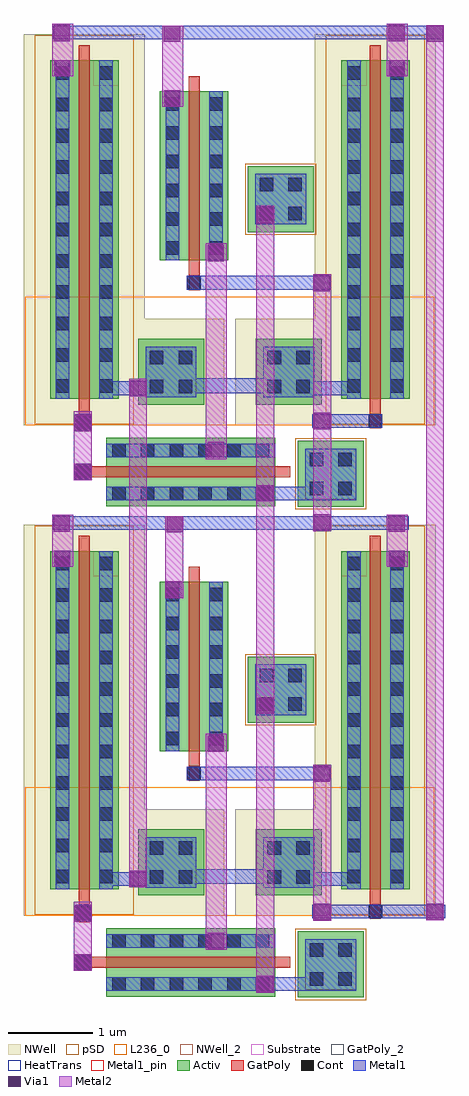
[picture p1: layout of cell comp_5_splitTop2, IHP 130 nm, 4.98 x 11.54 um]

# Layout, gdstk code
from math import pi, radians
import gdstk
lib = gdstk.Library(unit=1e-6, precision=1e-09)
def R(c, l, rs):  # rectangles x0, y0, x1, y1
    for r in rs: c.add(gdstk.rectangle(r[:2], r[2:], *l))
def A(c, l, x, y, w, h, nx, ny, dx, dy):  # array of equal rectangles
    R(c, l, [(x+i*dx, y+j*dy, x+i*dx+w, y+j*dy+h) for i in range(nx) for j in range(ny)])
def P(c, l, *ps):  # polygons
    for p in ps: c.add(gdstk.Polygon(p, *l))
Activ = (1, 0)
GatPoly = (5, 0)
GatPoly_2 = (5, 2)
Cont = (6, 0)
Metal1 = (8, 0)
Metal1_pin = (8, 2)
Metal2 = (10, 0)
pSD = (14, 0)
Via1 = (19, 0)
NWell = (31, 0)
NWell_2 = (31, 2)
Substrate = (40, 0)
HeatTrans = (51, 0)
L236_0 = (236, 0)

ptap = lib.new_cell('ptap')
R(ptap, Activ, [(0,0,0.78,0.78)])
R(ptap, Cont, [(0.14,0.14,0.3,0.3), (0.48,0.14,0.64,0.3), (0.14,0.48,0.3,0.64), (0.48,0.48,0.64,0.64)])
R(ptap, Metal1, [(0.09,0.09,0.69,0.69)])
R(ptap, Metal1_pin, [(0.09,0.09,0.69,0.69)])
R(ptap, pSD, [(-0.03,-0.03,0.81,0.81)])

comp_5_split2 = lib.new_cell('comp_5_split2')
R(comp_5_split2, Activ, [(-0.924,-4.817,-0.144,-4.037), (-3.191,-4.808,-2.891,-4.508), (-3.191,-4.808,-1.191,-3.998), (-3.191,-4.298,-2.891,-3.998), (-2.813,-3.611,-2.033,-2.831), (-1.423,-3.611,-0.643,-2.831), (-3.854,-3.539,-3.044,0.461), (-0.412,-3.539,0.398,0.461), (-2.554,-1.904,-1.744,0.096), (-2.554,-0.204,-2.254,0.096), (-2.044,-0.204,-1.744,0.096), (-3.854,0.161,-3.554,0.461), (-3.344,0.161,-3.044,0.461), (-0.412,0.161,-0.112,0.461), (0.098,0.161,0.398,0.461)])
R(comp_5_split2, GatPoly, [(-3.549,-4.468,-1.011,-4.338), (-3.514,-3.925,-3.384,0.641), (-0.072,-3.887,0.058,0.641), (-3.514,-3.719,-3.384,0.641), (-3.514,-3.719,-3.384,0.641), (-0.072,-3.719,0.058,0.641), (-0.072,-3.719,0.058,0.641), (-2.214,-2.255,-2.084,0.276)])
R(comp_5_split2, GatPoly_2, [(-3.371,-4.468,-1.011,-4.338), (-3.371,-4.468,-1.011,-4.338), (-2.214,-2.084,-2.084,0.276), (-2.214,-2.084,-2.084,0.276)])
A(comp_5_split2, Cont, -3.121, -4.738, 0.16, 0.16, 6, 2, 0.34, 0.51)
A(comp_5_split2, Cont, -3.784, -3.469, 0.16, 0.16, 1, 11, 0, 0.37)
A(comp_5_split2, Cont, -3.274, -3.469, 0.16, 0.16, 1, 11, 0, 0.37)
A(comp_5_split2, Cont, -0.342, -3.469, 0.16, 0.16, 1, 11, 0, 0.37)
A(comp_5_split2, Cont, 0.168, -3.469, 0.16, 0.16, 1, 11, 0, 0.37)
A(comp_5_split2, Cont, -2.484, -1.834, 0.16, 0.16, 1, 6, 0, 0.34)
A(comp_5_split2, Cont, -1.974, -1.834, 0.16, 0.16, 1, 6, 0, 0.34)
R(comp_5_split2, Cont, [(-0.784,-4.677,-0.624,-4.517), (-0.444,-4.677,-0.284,-4.517), (-3.539,-4.483,-3.379,-4.323), (-0.784,-4.337,-0.624,-4.177), (-0.444,-4.337,-0.284,-4.177), (-3.539,-3.906,-3.379,-3.746), (-0.088,-3.882,0.072,-3.722), (-2.673,-3.471,-2.513,-3.311), (-2.333,-3.471,-2.173,-3.311), (-1.283,-3.471,-1.123,-3.311), (-0.943,-3.471,-0.783,-3.311), (-2.673,-3.131,-2.513,-2.971), (-2.333,-3.131,-2.173,-2.971), (-1.283,-3.131,-1.123,-2.971), (-0.943,-3.131,-0.783,-2.971), (-2.23,-2.247,-2.07,-2.087)])
R(comp_5_split2, Metal1, [(-3.191,-4.738,-0.742,-4.578), (-0.834,-4.738,-0.234,-4.127), (-3.559,-4.487,-3.373,-4.32), (-3.191,-4.228,-1.191,-4.068), (-3.558,-3.922,-3.368,-3.72), (-0.752,-3.882,0.072,-3.722), (-3.784,-3.539,-3.624,0.461), (-3.784,-3.539,-3.624,0.461), (-3.784,-3.539,-3.624,0.461), (0.168,-3.539,0.328,0.461), (0.168,-3.539,0.328,0.461), (0.168,-3.539,0.328,0.461), (-2.238,-2.247,-0.541,-2.087), (-2.484,-1.904,-2.324,0.096), (-1.974,-1.904,-1.814,0.096), (-3.823,0.71,0.797,0.87)])
P(comp_5_split2, Metal1, [(-3.274,-3.539),(-3.274,0.461),(-3.114,0.461),(-3.114,-3.334),(-2.723,-3.334),(-2.723,-2.921),(-2.123,-2.921),(-2.123,-3.299),(-1.333,-3.299),(-1.333,-2.921),(-0.733,-2.921),(-0.733,-3.334),(-0.342,-3.334),(-0.342,0.461),(-0.182,0.461),(-0.182,-3.539),(-0.342,-3.539),(-0.342,-3.499),(-0.733,-3.499),(-0.733,-3.521),(-1.333,-3.521),(-1.333,-3.471),(-2.123,-3.471),(-2.123,-3.521),(-2.723,-3.521),(-2.723,-3.499),(-3.114,-3.499),(-3.114,-3.539)])
R(comp_5_split2, Metal1_pin, [(-3.191,-4.738,-1.191,-4.578), (-3.191,-4.738,-1.191,-4.578), (-0.834,-4.727,-0.234,-4.127), (-3.191,-4.228,-1.191,-4.068), (-3.191,-4.228,-1.191,-4.068), (-2.723,-3.521,-2.123,-2.921), (-1.333,-3.521,-0.733,-2.921), (-2.484,-1.904,-2.324,0.096), (-2.484,-1.904,-2.324,0.096), (-1.974,-1.904,-1.814,0.096), (-1.974,-1.904,-1.814,0.096)])
R(comp_5_split2, Metal2, [(-1.415,-7.096,-1.205,-1.255), (-0.741,-5.104,-0.531,-2.068), (-3.571,-4.504,-3.361,-3.687), (-2.013,-4.252,-1.765,-1.701), (-2.528,-0.086,-2.28,0.874), (-3.83,0.273,-3.582,0.892), (0.126,0.273,0.374,0.892)])
R(comp_5_split2, pSD, [(-0.954,-4.847,-0.114,-4.007), (-4.034,-3.839,-2.864,0.761), (-0.592,-3.839,0.578,0.761)])
R(comp_5_split2, Via1, [(-1.406,-4.749,-1.216,-4.559), (-3.562,-4.499,-3.372,-4.309), (-3.562,-4.499,-3.372,-4.309), (-1.987,-4.239,-1.797,-4.049), (-3.559,-3.92,-3.369,-3.73), (-0.732,-3.897,-0.542,-3.707), (-0.735,-2.267,-0.545,-2.077), (-1.992,-1.91,-1.802,-1.72), (-1.403,-1.464,-1.213,-1.274), (-2.502,-0.083,-2.312,0.107), (-3.804,0.276,-3.614,0.466), (0.152,0.276,0.342,0.466), (-2.507,0.682,-2.317,0.872), (-3.809,0.691,-3.619,0.881), (0.147,0.691,0.337,0.881)])
R(comp_5_split2, NWell, [(-3.053,-3.851,-1.793,-2.591), (-1.663,-3.851,-0.403,-2.591), (-4.164,-3.849,-2.734,0.771), (-0.722,-3.849,0.708,0.771)])
R(comp_5_split2, NWell_2, [(-1.423,-3.611,-0.643,-2.831)])
R(comp_5_split2, Substrate, [(-3.344,0.161,-3.044,0.461), (-3.344,0.161,-3.044,0.461), (-0.412,0.161,-0.112,0.461), (-0.412,0.161,-0.112,0.461)])
R(comp_5_split2, HeatTrans, [(-3.371,-4.468,-1.011,-4.338), (-3.514,-3.719,-3.384,0.641), (-0.072,-3.719,0.058,0.641), (-2.214,-2.084,-2.084,0.276)])
R(comp_5_split2, L236_0, [(-4.147,-3.851,-1.479,-2.331), (-1.977,-3.851,0.691,-2.331)])
comp_5_split2.add(gdstk.Reference(ptap, (-0.735,-0.788), rotation=pi))
comp_5_split2.add(gdstk.Label('pmos', (-0.007,-1.539), layer=63, texttype=0))
comp_5_split2.add(gdstk.Label('well', (-0.643,-2.831), layer=63, texttype=0))
comp_5_split2.add(gdstk.Label('pmos', (-3.449,-1.539), layer=63, texttype=0))
comp_5_split2.add(gdstk.Label('well', (-2.813,-2.831), layer=63, texttype=0))
comp_5_split2.add(gdstk.Label('pmos', (-0.007,-1.539), layer=51, texttype=0))
comp_5_split2.add(gdstk.Label('pmos', (-3.449,-1.539), layer=51, texttype=0))
comp_5_split2.add(gdstk.Label('nmos', (-2.149,-0.904), layer=51, texttype=0))
comp_5_split2.add(gdstk.Label('nmos', (-2.191,-4.403), layer=51, texttype=0))
comp_5_split2.add(gdstk.Label('[@instanceName]', (-0.643,-3.091), layer=236, texttype=1))
comp_5_split2.add(gdstk.Label('[@instanceName]', (-2.813,-3.091), layer=236, texttype=1))
comp_5_split2.add(gdstk.Label('out1m', (-3.468,-4.143), layer=8, texttype=25))
comp_5_split2.add(gdstk.Label('d_inv', (-0.057,-4.999), layer=8, texttype=25))

comp_5_split2_2 = lib.new_cell('comp_5_split2$2')
R(comp_5_split2_2, Activ, [(-0.924,-4.817,-0.144,-4.037), (-3.191,-4.808,-2.891,-4.508), (-3.191,-4.808,-1.191,-3.998), (-3.191,-4.298,-2.891,-3.998), (-2.813,-3.611,-2.033,-2.831), (-1.423,-3.611,-0.643,-2.831), (-3.854,-3.539,-3.044,0.461), (-0.412,-3.539,0.398,0.461), (-2.554,-1.904,-1.744,0.096), (-2.554,-0.204,-2.254,0.096), (-2.044,-0.204,-1.744,0.096), (-3.854,0.161,-3.554,0.461), (-3.344,0.161,-3.044,0.461), (-0.412,0.161,-0.112,0.461), (0.098,0.161,0.398,0.461)])
R(comp_5_split2_2, GatPoly, [(-3.549,-4.468,-1.011,-4.338), (-3.514,-3.925,-3.384,0.641), (-0.072,-3.887,0.058,0.641), (-3.514,-3.719,-3.384,0.641), (-3.514,-3.719,-3.384,0.641), (-0.072,-3.719,0.058,0.641), (-0.072,-3.719,0.058,0.641), (-2.214,-2.255,-2.084,0.276)])
R(comp_5_split2_2, GatPoly_2, [(-3.371,-4.468,-1.011,-4.338), (-3.371,-4.468,-1.011,-4.338), (-2.214,-2.084,-2.084,0.276), (-2.214,-2.084,-2.084,0.276)])
A(comp_5_split2_2, Cont, -3.121, -4.738, 0.16, 0.16, 6, 2, 0.34, 0.51)
A(comp_5_split2_2, Cont, -3.784, -3.469, 0.16, 0.16, 1, 11, 0, 0.37)
A(comp_5_split2_2, Cont, -3.274, -3.469, 0.16, 0.16, 1, 11, 0, 0.37)
A(comp_5_split2_2, Cont, -0.342, -3.469, 0.16, 0.16, 1, 11, 0, 0.37)
A(comp_5_split2_2, Cont, 0.168, -3.469, 0.16, 0.16, 1, 11, 0, 0.37)
A(comp_5_split2_2, Cont, -2.484, -1.834, 0.16, 0.16, 1, 6, 0, 0.34)
A(comp_5_split2_2, Cont, -1.974, -1.834, 0.16, 0.16, 1, 6, 0, 0.34)
R(comp_5_split2_2, Cont, [(-0.784,-4.677,-0.624,-4.517), (-0.444,-4.677,-0.284,-4.517), (-3.539,-4.483,-3.379,-4.323), (-0.784,-4.337,-0.624,-4.177), (-0.444,-4.337,-0.284,-4.177), (-3.539,-3.906,-3.379,-3.746), (-0.088,-3.882,0.072,-3.722), (-2.673,-3.471,-2.513,-3.311), (-2.333,-3.471,-2.173,-3.311), (-1.283,-3.471,-1.123,-3.311), (-0.943,-3.471,-0.783,-3.311), (-2.673,-3.131,-2.513,-2.971), (-2.333,-3.131,-2.173,-2.971), (-1.283,-3.131,-1.123,-2.971), (-0.943,-3.131,-0.783,-2.971), (-2.23,-2.247,-2.07,-2.087)])
R(comp_5_split2_2, Metal1, [(-3.191,-4.738,-0.742,-4.578), (-0.834,-4.738,-0.234,-4.127), (-3.559,-4.487,-3.373,-4.32), (-3.191,-4.228,-1.191,-4.068), (-3.558,-3.922,-3.368,-3.72), (-0.752,-3.882,0.818,-3.722), (-3.784,-3.539,-3.624,0.461), (-3.784,-3.539,-3.624,0.461), (-3.784,-3.539,-3.624,0.461), (0.168,-3.539,0.328,0.461), (0.168,-3.539,0.328,0.461), (0.168,-3.539,0.328,0.461), (-2.238,-2.247,-0.541,-2.087), (-2.484,-1.904,-2.324,0.096), (-1.974,-1.904,-1.814,0.096), (-3.823,0.71,0.386,0.87)])
P(comp_5_split2_2, Metal1, [(-3.274,-3.539),(-3.274,0.461),(-3.114,0.461),(-3.114,-3.334),(-2.723,-3.334),(-2.723,-2.921),(-2.123,-2.921),(-2.123,-3.299),(-1.333,-3.299),(-1.333,-2.921),(-0.733,-2.921),(-0.733,-3.334),(-0.342,-3.334),(-0.342,0.461),(-0.182,0.461),(-0.182,-3.539),(-0.342,-3.539),(-0.342,-3.499),(-0.733,-3.499),(-0.733,-3.521),(-1.333,-3.521),(-1.333,-3.471),(-2.123,-3.471),(-2.123,-3.521),(-2.723,-3.521),(-2.723,-3.499),(-3.114,-3.499),(-3.114,-3.539)])
R(comp_5_split2_2, Metal1_pin, [(-3.191,-4.738,-1.191,-4.578), (-3.191,-4.738,-1.191,-4.578), (-0.834,-4.727,-0.234,-4.127), (-3.191,-4.228,-1.191,-4.068), (-3.191,-4.228,-1.191,-4.068), (-2.723,-3.521,-2.123,-2.921), (-1.333,-3.521,-0.733,-2.921), (-2.484,-1.904,-2.324,0.096), (-2.484,-1.904,-2.324,0.096), (-1.974,-1.904,-1.814,0.096), (-1.974,-1.904,-1.814,0.096)])
R(comp_5_split2_2, Metal2, [(-1.415,-4.762,-1.205,-1.255), (-3.571,-4.504,-3.361,-3.687), (-2.013,-4.252,-1.765,-1.701), (-0.741,-3.91,-0.531,-2.068), (-2.489,-0.096,-2.28,0.874), (-3.83,0.273,-3.582,0.892), (0.126,0.273,0.374,0.892)])
R(comp_5_split2_2, pSD, [(-0.954,-4.847,-0.114,-4.007), (-4.034,-3.839,-2.864,0.761), (-0.592,-3.839,0.578,0.761)])
R(comp_5_split2_2, Via1, [(-1.406,-4.749,-1.216,-4.559), (-3.562,-4.499,-3.372,-4.309), (-3.562,-4.499,-3.372,-4.309), (-1.987,-4.239,-1.797,-4.049), (-3.559,-3.92,-3.369,-3.73), (-0.732,-3.897,-0.542,-3.707), (-0.735,-2.267,-0.545,-2.077), (-1.992,-1.91,-1.802,-1.72), (-1.403,-1.464,-1.213,-1.274), (-2.486,-0.089,-2.296,0.101), (-3.804,0.276,-3.614,0.466), (0.152,0.276,0.342,0.466), (-2.475,0.682,-2.285,0.872), (-3.809,0.691,-3.619,0.881), (0.147,0.691,0.337,0.881)])
R(comp_5_split2_2, NWell, [(-3.053,-3.851,-1.793,-2.591), (-1.663,-3.851,-0.403,-2.591), (-4.164,-3.849,-2.734,0.771), (-0.722,-3.849,0.708,0.771)])
R(comp_5_split2_2, NWell_2, [(-1.423,-3.611,-0.643,-2.831)])
R(comp_5_split2_2, Substrate, [(-3.344,0.161,-3.044,0.461), (-3.344,0.161,-3.044,0.461), (-0.412,0.161,-0.112,0.461), (-0.412,0.161,-0.112,0.461)])
R(comp_5_split2_2, HeatTrans, [(-3.371,-4.468,-1.011,-4.338), (-3.514,-3.719,-3.384,0.641), (-0.072,-3.719,0.058,0.641), (-2.214,-2.084,-2.084,0.276)])
R(comp_5_split2_2, L236_0, [(-4.147,-3.851,-1.479,-2.331), (-1.977,-3.851,0.691,-2.331)])
comp_5_split2_2.add(gdstk.Reference(ptap, (-0.735,-0.788), rotation=pi))
comp_5_split2_2.add(gdstk.Label('pmos', (-0.007,-1.539), layer=63, texttype=0))
comp_5_split2_2.add(gdstk.Label('well', (-0.643,-2.831), layer=63, texttype=0))
comp_5_split2_2.add(gdstk.Label('pmos', (-3.449,-1.539), layer=63, texttype=0))
comp_5_split2_2.add(gdstk.Label('well', (-2.813,-2.831), layer=63, texttype=0))
comp_5_split2_2.add(gdstk.Label('pmos', (-0.007,-1.539), layer=51, texttype=0))
comp_5_split2_2.add(gdstk.Label('pmos', (-3.449,-1.539), layer=51, texttype=0))
comp_5_split2_2.add(gdstk.Label('nmos', (-2.149,-0.904), layer=51, texttype=0))
comp_5_split2_2.add(gdstk.Label('nmos', (-2.191,-4.403), layer=51, texttype=0))
comp_5_split2_2.add(gdstk.Label('[@instanceName]', (-0.643,-3.091), layer=236, texttype=1))
comp_5_split2_2.add(gdstk.Label('[@instanceName]', (-2.813,-3.091), layer=236, texttype=1))
comp_5_split2_2.add(gdstk.Label('in', (-3.468,-4.143), layer=8, texttype=25))
comp_5_split2_2.add(gdstk.Label('VDD', (-1.67,-3.385), layer=8, texttype=25))
comp_5_split2_2.add(gdstk.Label('VSS', (-0.552,-4.224), layer=8, texttype=25))

comp_5_splittop2 = lib.new_cell('comp_5_splitTop2')
R(comp_5_splittop2, Metal2, [(0.662,-6.276,0.872,4.304), (-2.848,-5.888,-2.638,0.125)])
R(comp_5_splittop2, Via1, [(0.671,-6.27,0.861,-6.08), (-2.839,-5.882,-2.649,-5.692), (-0.662,-1.67,-0.472,-1.48), (-2.836,-0.084,-2.646,0.106), (0.674,4.111,0.864,4.301)])
comp_5_splittop2.add(gdstk.Reference(comp_5_split2, (0.07,3.427)))
comp_5_splittop2.add(gdstk.Reference(comp_5_split2_2, (0.07,-2.373)))

lib.write_gds('comp_5_splitTop2.gds')
